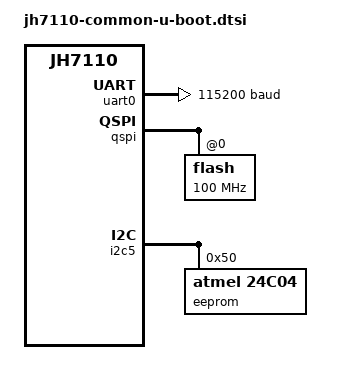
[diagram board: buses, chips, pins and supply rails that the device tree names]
// SPDX-License-Identifier: GPL-2.0 OR MIT
/*
 * Copyright (C) 2023 StarFive Technology Co., Ltd.
 */

#include "jh7110-u-boot.dtsi"
/ {
	aliases {
		spi0 = &qspi;
	};

	chosen {
		bootph-pre-ram;
	};

	firmware {
		spi0 = &qspi;
		bootph-pre-ram;
	};

	memory@40000000 {
		bootph-pre-ram;
	};
};

&uart0 {
	bootph-pre-ram;
	reg-offset = <0>;
	current-speed = <115200>;
};

&mmc0 {
	bootph-pre-ram;
};

&mmc1 {
	bootph-pre-ram;
};

&qspi {
	bootph-pre-ram;

	flash@0 {
		bootph-pre-ram;
		cdns,read-delay = <2>;
		spi-max-frequency = <100000000>;
	};
};

&syscrg {
	assigned-clocks = <&syscrg JH7110_SYSCLK_CPU_ROOT>,
			  <&syscrg JH7110_SYSCLK_BUS_ROOT>,
			  <&syscrg JH7110_SYSCLK_PERH_ROOT>,
			  <&syscrg JH7110_SYSCLK_QSPI_REF>;
	assigned-clock-parents = <&pllclk JH7110_PLLCLK_PLL0_OUT>,
				 <&pllclk JH7110_PLLCLK_PLL2_OUT>,
				 <&pllclk JH7110_PLLCLK_PLL2_OUT>,
				 <&syscrg JH7110_SYSCLK_QSPI_REF_SRC>;
	assigned-clock-rates = <0>, <0>, <0>, <0>;
};

&sysgpio {
	bootph-pre-ram;
};

&mmc0_pins {
	bootph-pre-ram;
	rst-pins {
		bootph-pre-ram;
	};
};

&mmc1_pins {
	bootph-pre-ram;
	clk-pins {
		bootph-pre-ram;
	};

	mmc-pins {
		bootph-pre-ram;
	};
};

&i2c5_pins {
	bootph-pre-ram;
	i2c-pins {
		bootph-pre-ram;
	};
};

&i2c5 {
	bootph-pre-ram;
	eeprom@50 {
		bootph-pre-ram;
		compatible = "atmel,24c04";
		reg = <0x50>;
		pagesize = <16>;
	};
};
